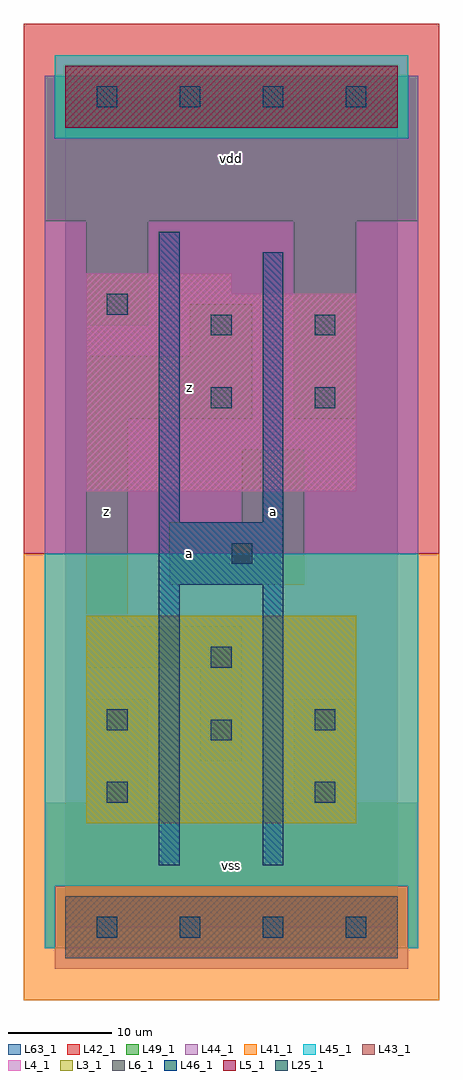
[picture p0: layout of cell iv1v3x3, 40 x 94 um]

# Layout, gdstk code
import gdstk
lib = gdstk.Library(unit=1e-6, precision=1e-09)
def R(c, l, rs):  # rectangles x0, y0, x1, y1
    for r in rs: c.add(gdstk.rectangle(r[:2], r[2:], *l))
def A(c, l, x, y, w, h, nx, ny, dx, dy):  # array of equal rectangles
    R(c, l, [(x+i*dx, y+j*dy, x+i*dx+w, y+j*dy+h) for i in range(nx) for j in range(ny)])
L3_1 = (3, 1)
L4_1 = (4, 1)
L5_1 = (5, 1)
L6_1 = (6, 1)
L25_1 = (25, 1)
L41_1 = (41, 1)
L42_1 = (42, 1)
L43_1 = (43, 1)
L44_1 = (44, 1)
L45_1 = (45, 1)
L46_1 = (46, 1)
L49_1 = (49, 1)
L63_1 = (63, 1)

iv1v3x3 = lib.new_cell('iv1v3x3')
R(iv1v3x3, L3_1, [(2,10,28,30)])
R(iv1v3x3, L4_1, [(2,42,28,61), (2,61,16,63)])
R(iv1v3x3, L5_1, [(0,77,32,83)])
R(iv1v3x3, L6_1, [(0,-3,32,3), (0,-3,32,3)])
A(iv1v3x3, L25_1, 3, -1, 2, 2, 4, 2, 8, 80)
R(iv1v3x3, L25_1, [(4,12,6,14), (24,12,26,14), (14,18,16,20), (4,19,6,21), (24,19,26,21), (14,25,16,27), (16,35,18,37), (14,50,16,52), (24,50,26,52), (14,57,16,59), (24,57,26,59), (4,59,6,61)])
R(iv1v3x3, L41_1, [(-4,-7,36,36)])
R(iv1v3x3, L42_1, [(-4,36,36,87)])
R(iv1v3x3, L43_1, [(0,-3,32,3), (2,10,28,30), (2,42,28,61), (2,61,16,63), (0,77,32,83)])
R(iv1v3x3, L44_1, [(-1,-4,33,4), (-2,36,34,76), (-2,76,-1,82), (33,76,34,82)])
R(iv1v3x3, L45_1, [(-2,-2,-1,4), (33,-2,34,4), (-2,4,34,36), (-1,76,33,84)])
R(iv1v3x3, L46_1, [(9,6,11,33), (19,6,21,33), (9,33,21,39), (9,39,11,67), (19,39,21,65)])
R(iv1v3x3, L49_1, [(-2,-2,34,12), (2,12,8,22), (22,12,28,22), (13,16,17,25), (2,25,17,29), (2,29,6,49), (10,33,23,39), (17,39,23,46), (2,49,18,55), (22,49,28,68), (12,55,18,60), (2,58,8,68), (-2,68,34,82)])
R(iv1v3x3, L63_1, [(0,0,32,80)])
iv1v3x3.add(gdstk.Label('z', (4,40), layer=49, texttype=1))
iv1v3x3.add(gdstk.Label('a', (12,36), layer=49, texttype=1))
iv1v3x3.add(gdstk.Label('z', (12,52), layer=49, texttype=1))
iv1v3x3.add(gdstk.Label('vss', (16,6), layer=49, texttype=1))
iv1v3x3.add(gdstk.Label('a', (20,40), layer=49, texttype=1))
iv1v3x3.add(gdstk.Label('vdd', (16,74), layer=49, texttype=1))

lib.write_gds('iv1v3x3.gds')
